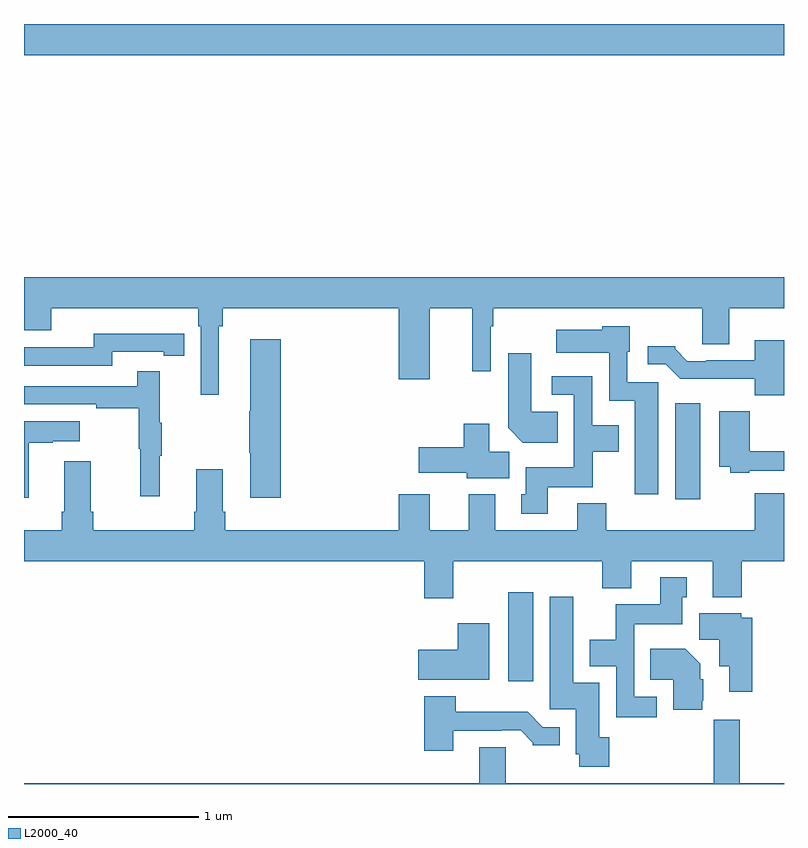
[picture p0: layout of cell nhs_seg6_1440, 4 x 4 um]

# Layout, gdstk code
import gdstk
lib = gdstk.Library(unit=1e-6, precision=1e-09)
def R(c, l, rs):  # rectangles x0, y0, x1, y1
    for r in rs: c.add(gdstk.rectangle(r[:2], r[2:], *l))
def P(c, l, *ps):  # polygons
    for p in ps: c.add(gdstk.Polygon(p, *l))
L2000_40 = (2000, 40)

nhs_seg6_1440 = lib.new_cell('nhs_seg6_1440')
R(nhs_seg6_1440, L2000_40, [(201.548,944.04,201.679,944.509), (202.427,945,202.558,945.505), (199,947.336,203,947.5)])
P(nhs_seg6_1440, L2000_40, [(200.026,945.908),(200.045,945.908),(200.045,946.004),(200.972,946.004),(200.972,945.63),(201.136,945.63),(201.136,946.004),(201.358,946.004),(201.358,945.672),(201.456,945.672),(201.456,945.908),(201.469,945.908),(201.469,946.004),(202.571,946.004),(202.571,945.814),(202.711,945.814),(202.711,946.004),(203,946.004),(203,946.168),(199,946.168),(199,945.887),(199.144,945.887),(199.144,946.004),(199.916,946.004),(199.916,945.908),(199.929,945.908),(199.929,945.549),(200.026,945.549)],
  [(202.339,945.615),(202.176,945.615),(202.176,945.774),(202.189,945.774),(202.189,945.91),(202.044,945.91),(202.044,945.892),(201.801,945.892),(201.801,945.77),(202.08,945.77),(202.08,945.518),(202.214,945.518),(202.214,945.024),(202.339,945.024)],
  [(199.464,945.774),(199.736,945.774),(199.736,945.754),(199.844,945.754),(199.844,945.87),(199.736,945.87),(199.736,945.871),(199.368,945.871),(199.368,945.798),(199,945.798),(199,945.702),(199.464,945.702)],
  [(200.351,945.841),(200.192,945.841),(200.192,945.461),(200.185,945.461),(200.185,945.244),(200.192,945.244),(200.192,945.006),(200.351,945.006)],
  [(203,945.835),(202.847,945.835),(202.847,945.729),(202.591,945.729),(202.591,945.726),(202.492,945.726),(202.428,945.79),(202.428,945.805),(202.284,945.805),(202.284,945.708),(202.377,945.708),(202.453,945.632),(202.845,945.632),(202.845,945.545),(203,945.545)],
  [(201.809,945.46),(201.67,945.46),(201.67,945.766),(201.548,945.766),(201.548,945.374),(201.626,945.296),(201.809,945.296)],
  [(199.715,945.227),(199.726,945.227),(199.726,945.401),(199.715,945.401),(199.715,945.673),(199.597,945.673),(199.597,945.594),(199,945.594),(199,945.498),(199.381,945.498),(199.381,945.478),(199.605,945.478),(199.605,945.264),(199.612,945.264),(199.612,945.015),(199.715,945.015)],
  [(201.757,945.062),(201.993,945.062),(201.993,945.248),(202.129,945.248),(202.129,945.388),(201.99,945.388),(201.99,945.645),(201.777,945.645),(201.777,945.549),(201.894,945.549),(201.894,945.166),(201.641,945.166),(201.641,945.024),(201.617,945.024),(201.617,944.922),(201.757,944.922)],
  [(202.816,945.15),(203,945.15),(203,945.251),(202.82,945.251),(202.82,945.463),(202.658,945.463),(202.658,945.17),(202.716,945.17),(202.716,945.138),(202.816,945.138)],
  [(199.024,945.295),(199.151,945.295),(199.151,945.305),(199.294,945.305),(199.294,945.409),(199,945.409),(199,945.006),(199.024,945.006)],
  [(201.553,945.248),(201.448,945.248),(201.448,945.397),(201.314,945.397),(201.314,945.272),(201.078,945.272),(201.078,945.137),(201.33,945.137),(201.33,945.11),(201.553,945.11)],
  [(201.259,944.672),(202.043,944.672),(202.043,944.531),(202.195,944.531),(202.195,944.672),(202.625,944.672),(202.625,944.483),(202.778,944.483),(202.778,944.672),(203,944.672),(203,945.031),(202.847,945.031),(202.847,944.836),(202.064,944.836),(202.064,944.977),(201.911,944.977),(201.911,944.836),(201.481,944.836),(201.481,945.025),(201.341,945.025),(201.341,944.836),(201.136,944.836),(201.136,945.025),(200.972,945.025),(200.972,944.836),(200.06,944.836),(200.06,944.932),(200.047,944.932),(200.047,945.157),(199.907,945.157),(199.907,944.932),(199.895,944.932),(199.895,944.836),(199.364,944.836),(199.364,944.932),(199.351,944.932),(199.351,945.199),(199.211,945.199),(199.211,944.932),(199.199,944.932),(199.199,944.836),(199,944.836),(199,944.672),(201.107,944.672),(201.107,944.478),(201.259,944.478)],
  [(202.33,943.959),(202.212,943.959),(202.212,944.342),(202.465,944.342),(202.465,944.484),(202.489,944.484),(202.489,944.587),(202.349,944.587),(202.349,944.446),(202.114,944.446),(202.114,944.26),(201.977,944.26),(201.977,944.12),(202.116,944.12),(202.116,943.851),(202.33,943.851)],
  [(202.079,943.746),(202.027,943.746),(202.027,944.032),(201.892,944.032),(201.892,944.485),(201.767,944.485),(201.767,943.893),(201.905,943.893),(201.905,943.656),(201.922,943.656),(201.922,943.59),(202.079,943.59)],
  [(202.834,944.374),(202.776,944.374),(202.776,944.398),(202.553,944.398),(202.553,944.26),(202.658,944.26),(202.658,944.12),(202.712,944.12),(202.712,943.986),(202.834,943.986)],
  [(201.448,944.347),(201.284,944.347),(201.284,944.206),(201.075,944.206),(201.075,944.048),(201.448,944.048)],
  [(202.57,943.938),(202.576,943.938),(202.576,944.052),(202.558,944.052),(202.558,944.134),(202.48,944.212),(202.297,944.212),(202.297,944.048),(202.418,944.048),(202.418,943.891),(202.57,943.891)],
  [(201.259,943.779),(201.515,943.779),(201.515,943.782),(201.614,943.782),(201.678,943.718),(201.678,943.703),(201.82,943.703),(201.82,943.8),(201.729,943.8),(201.651,943.879),(201.272,943.879),(201.272,943.963),(201.107,943.963),(201.107,943.674),(201.259,943.674)],
  [(203,943.504),(202.766,943.504),(202.766,943.837),(202.63,943.837),(202.63,943.504),(201.535,943.504),(201.535,943.694),(201.395,943.694),(201.395,943.504),(199,943.504),(199,943.5),(203,943.5)])

lib.write_gds('nhs_seg6_1440.gds')
